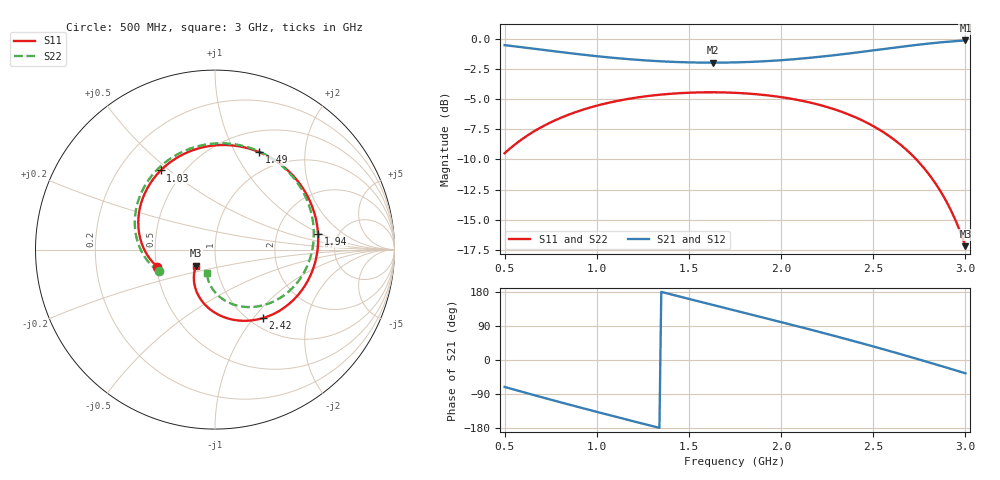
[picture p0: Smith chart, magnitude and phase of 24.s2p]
!freq-unit  param-type  data-format  keyword  impedance-ohms
# GHZ  S  RI  R  50
!Freq  ReS11  ImS11  ReS21  ImS21  ReS12  ImS12  ReS22  ImS22
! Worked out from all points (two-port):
!   251 points, 500 MHz to 3 GHz, reference 50 ohm
!   highest |S21| = -0.16 dB at 3 GHz (marker M1); lowest = -2.0 dB at 1.63 GHz (marker M2)
!   |S21| within 3 dB of the highest: start of sweep to end of sweep
!   lowest |S11| = -17.2 dB at 3 GHz (marker M3), VSWR 1.32, Z = 39.9 - j7.35 ohm
!   |S11| at or under -10 dB: 2.733 GHz to end of sweep
!   |S22| runs from -17.2 to -4.4 dB; largest |S21 - S12| = 0
!   S11 on the Smith chart (normalised r, x): 500 MHz: 0.51, -0.11; 1.03 GHz: 0.38, +0.47; 1.49 GHz: 0.75, +1.26; 1.94 GHz: 3.52, +0.90; 2.42 GHz: 1.15, -1.12; 3 GHz: 0.80, -0.15
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0.5  -0.3215 -0.0952  0.3049 -0.8887  0.3049 -0.8887  -0.3127 -0.1212
0.6  -0.3856 -0.0163  0.0854 -0.9157  0.0854 -0.9157  -0.3822 -0.0541
0.7  -0.4217 0.0852  -0.1259 -0.8908  -0.1259 -0.8908  -0.4288 0.0361
0.81  -0.4226 0.2097  -0.3358 -0.8115  -0.3358 -0.8115  -0.4469 0.1514
0.92  -0.3816 0.3329  -0.5126 -0.6886  -0.5126 -0.6886  -0.4279 0.2711
1.03  -0.3023 0.4412  -0.65 -0.5335  -0.65 -0.5335  -0.3732 0.3833
1.18  -0.1456 0.5453  -0.7684 -0.2893  -0.7684 -0.2893  -0.2495 0.5064
1.34  0.0564 0.5828  -0.8057 -0.013  -0.8057 -0.013  -0.0745 0.5809
1.49  0.2478 0.5426  -0.7609 0.2384  -0.7609 0.2384  0.1064 0.5871
1.63  0.4029 0.4438  -0.6556 0.4494  -0.6556 0.4494  0.2687 0.5361
1.75  0.5024 0.3213  -0.5223 0.6018  -0.5223 0.6018  0.3887 0.4526
1.85  0.5545 0.2008  -0.3852 0.7029  -0.3852 0.7029  0.4675 0.36
1.94  0.5742 0.0851  -0.245 0.77  -0.245 0.77  0.5176 0.2633
2.06  0.5585 -0.0687  -0.0393 0.8192  -0.0393 0.8192  0.5493 0.1232
2.17  0.5035 -0.1969  0.1606 0.819  0.1606 0.819  0.5408 -0.00635
2.3  0.3958 -0.3159  0.3984 0.757  0.3984 0.757  0.4854 -0.1455
2.42  0.2684 -0.3812  0.6038 0.6368  0.6038 0.6368  0.3965 -0.2457
2.59  0.078 -0.3854  0.8358 0.365  0.8358 0.365  0.2324 -0.3175
2.7  -0.0255 -0.3344  0.9247 0.1349  0.9247 0.1349  0.1234 -0.312
2.8  -0.0899 -0.2605  0.9485 -0.0981  0.9485 -0.0981  0.0387 -0.2731
2.9  -0.1172 -0.1737  0.9092 -0.3378  0.9092 -0.3378  -0.0204 -0.2087
3  -0.1047 -0.0903  0.8039 -0.5645  0.8039 -0.5645  -0.0452 -0.1309
